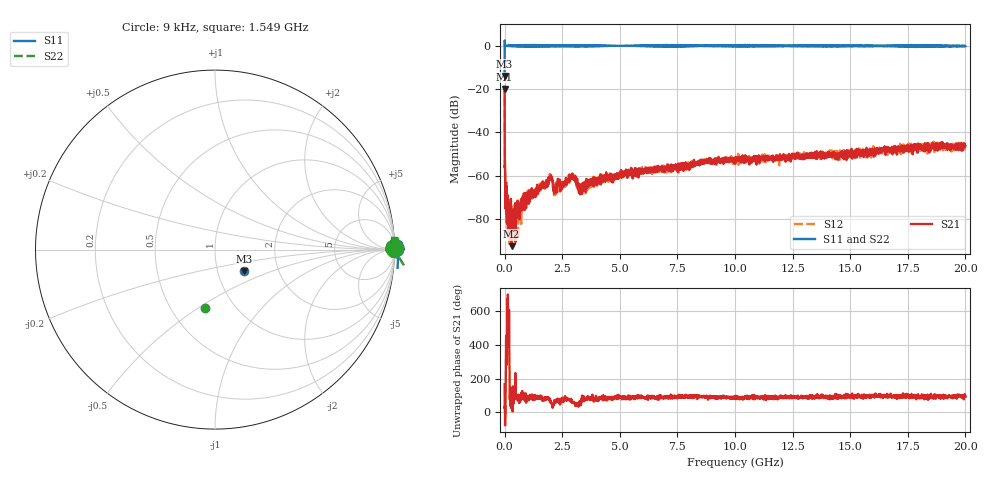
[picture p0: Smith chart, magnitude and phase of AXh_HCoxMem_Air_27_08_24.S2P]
!  2-Port S-parameters saved by WinCal
! VAR MeasName=S-Parameters (CALIBRATED_DATA) read from VNA (P5004A)
! VAR MeasDate=27/08/2024 11:33:01
! VAR NAME=AXh_HCoxMem_Air_27_08_24
! VAR FILENAME=AXh_HCoxMem_Air_27_08_24.S2P
! VAR DATE=27/08/2024 11:33:01
! VAR PHYS_PORTS=1,2
! VAR ObjTypeName=DATASET
! VAR IndexType=Frequency
# Hz S MA R 50
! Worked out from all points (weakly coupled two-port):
!   2700 points, 9 kHz to 20 GHz, reference 50 ohm
!   highest |S21| = -19.95 dB at 9 kHz (marker M1); lowest = -92.6 dB at 303.8 MHz (marker M2)
!   lowest |S11| = -13.9 dB at 9 kHz (marker M3), VSWR 1.51, Z = 66.8 - j16.9 ohm
!   |S11| at or under -10 dB: start of sweep to 1.769 MHz
!   |S22| runs from -9.6 to 2.1 dB; largest |S21 - S12| = 0.22
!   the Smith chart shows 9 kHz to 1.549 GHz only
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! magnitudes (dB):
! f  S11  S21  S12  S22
! 9 kHz  -13.9  -20.0  -18.1  -9.6
! 96.34 MHz  0.0  -82.0  -72.8  0.0
! 111.2 MHz  0.0  -71.2  -69.9  0.0
! 155.6 MHz  -0.1  -78.0  -80.4  -0.1
! 214.9 MHz  0.1  -84.4  -82.5  0.1
! 303.8 MHz  0.0  -92.6  -78.4  0.0
! 652.1 MHz  0.1  -74.3  -74.9  0.1
! 822.5 MHz  0.0  -73.2  -68.2  0.0
! 1.956 GHz  0.3  -61.8  -60.4  0.3
! 2.186 GHz  -0.3  -65.4  -65.4  -0.3
! 2.297 GHz  0.1  -63.7  -63.9  0.1
! 2.49 GHz  -0.1  -64.1  -64.5  -0.1
! 2.979 GHz  -0.3  -61.3  -60.8  -0.3
! 3.216 GHz  0.2  -66.4  -65.1  0.2
! 3.335 GHz  -0.3  -68.3  -68.0  -0.3
! 3.742 GHz  -0.2  -63.5  -62.4  -0.2
! 4.387 GHz  -0.1  -60.8  -59.5  -0.1
! 6.669 GHz  0.3  -57.5  -56.4  0.3
! 10 GHz  -0.2  -52.9  -53.0  -0.2
! 13.34 GHz  -0.1  -51.7  -51.0  -0.1
! 16.67 GHz  -0.1  -48.2  -47.3  -0.1
! 20 GHz  -0.2  -46.3  -46.2  -0.1
